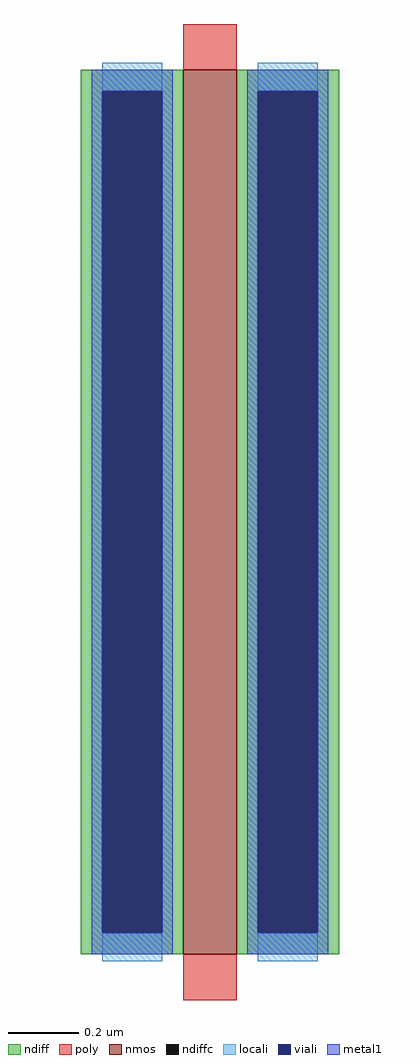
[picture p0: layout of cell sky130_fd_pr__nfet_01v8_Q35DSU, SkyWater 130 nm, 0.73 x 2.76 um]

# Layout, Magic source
magic
tech sky130A
magscale 1 2
<< nmos >>
rect -15 -250 15 250
<< ndiff >>
rect -73 238 -15 250
rect -73 -238 -61 238
rect -27 -238 -15 238
rect -73 -250 -15 -238
rect 15 238 73 250
rect 15 -238 27 238
rect 61 -238 73 238
rect 15 -250 73 -238
<< ndiffc >>
rect -61 -238 -27 238
rect 27 -238 61 238
<< poly >>
rect -15 250 15 276
rect -15 -276 15 -250
<< locali >>
rect -61 238 -27 254
rect -61 -254 -27 -238
rect 27 238 61 254
rect 27 -254 61 -238
<< viali >>
rect -61 -238 -27 238
rect 27 -238 61 238
<< metal1 >>
rect -67 238 -21 250
rect -67 -238 -61 238
rect -27 -238 -21 238
rect -67 -250 -21 -238
rect 21 238 67 250
rect 21 -238 27 238
rect 61 -238 67 238
rect 21 -250 67 -238
<< properties >>
string gencell sky130_fd_pr__nfet_01v8
string library sky130
string parameters w 2.5 l 0.15 m 1 nf 1 diffcov 100 polycov 100 guard 0 glc 1 grc 1 gtc 1 gbc 1 tbcov 100 rlcov 100 topc 0 botc 0 poverlap 0 doverlap 1 lmin 0.15 wmin 0.42 compatible {sky130_fd_pr__nfet_01v8 sky130_fd_pr__nfet_01v8_lvt  sky130_fd_bs_flash__special_sonosfet_star  sky130_fd_pr__nfet_g5v0d10v5 sky130_fd_pr__nfet_05v0_nvt  sky130_fd_pr__nfet_03v3_nvt} full_metal 1 viasrc 100 viadrn 100 viagate 0 viagb 0 viagr 0 viagl 0 viagt 0
<< end >>
